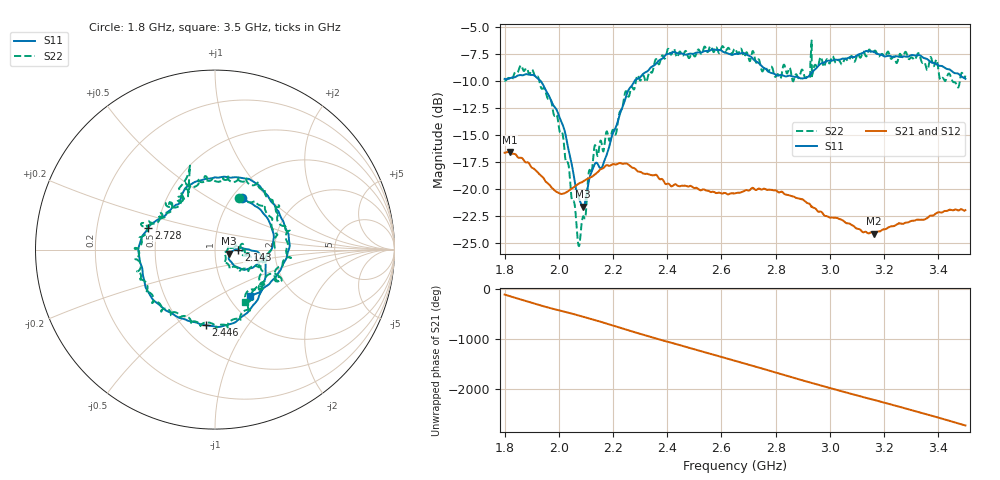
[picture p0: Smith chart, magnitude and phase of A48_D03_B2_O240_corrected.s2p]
! Created with skrf 1.9.0 (http://scikit-rf.org).
# Hz S RI R 50.0
!freq ReS11 ImS11 ReS21 ImS21 ReS12 ImS12 ReS22 ImS22
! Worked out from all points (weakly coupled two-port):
!   1601 points, 1.8 GHz to 3.5 GHz, reference 50 ohm
!   highest |S21| = -16.58 dB at 1.818 GHz (marker M1); lowest = -24.2 dB at 3.163 GHz (marker M2)
!   lowest |S11| = -21.7 dB at 2.09 GHz (marker M3), VSWR 1.18, Z = 58.6 - j2.65 ohm
!   |S11| at or under -10 dB: 1.933 GHz to 2.279 GHz (346 MHz wide, 16.4 % of centre)
!   |S22| runs from -25.3 to -6.2 dB; largest |S21 - S12| = 0.0026
!   S11 on the Smith chart (normalised r, x): 1.8 GHz: 1.12, +0.71; 2.143 GHz: 1.30, -0.01; 2.446 GHz: 0.64, -0.66; 2.728 GHz: 0.45, +0.13; 3.5 GHz: 1.24, -0.72
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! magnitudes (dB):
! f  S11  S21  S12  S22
! 1.8 GHz  -9.8  -16.6  -16.7  -9.9
! 1.818 GHz  -9.7  -16.6  -16.6  -9.7
! 1.903 GHz  -9.4  -18.1  -18.1  -9.0
! 1.968 GHz  -11.6  -19.7  -19.8  -11.6
! 2.014 GHz  -14.0  -20.5  -20.5  -14.9
! 2.071 GHz  -20.7  -19.6  -19.6  -25.1
! 2.084 GHz  -21.5  -19.4  -19.4  -23.3
! 2.09 GHz  -21.7  -19.3  -19.4  -22.6
! 2.113 GHz  -19.0  -19.0  -19.0  -18.2
! 2.143 GHz  -17.7  -18.5  -18.4  -17.0
! 2.209 GHz  -14.4  -17.8  -17.7  -15.0
! 2.26 GHz  -10.7  -17.8  -17.8  -11.3
! 2.367 GHz  -8.1  -19.0  -18.9  -8.4
! 2.446 GHz  -7.4  -19.8  -19.8  -7.3
! 2.65 GHz  -7.5  -20.4  -20.4  -7.0
! 2.728 GHz  -8.2  -20.1  -20.1  -8.3
! 2.812 GHz  -9.5  -20.3  -20.2  -9.5
! 2.934 GHz  -9.2  -21.6  -21.6  -9.6
! 3.163 GHz  -7.3  -24.2  -24.1  -7.2
! 3.217 GHz  -7.7  -23.6  -23.5  -7.4
! 3.469 GHz  -9.3  -22.0  -21.9  -10.5
! 3.5 GHz  -9.8  -22.0  -22.0  -9.5
